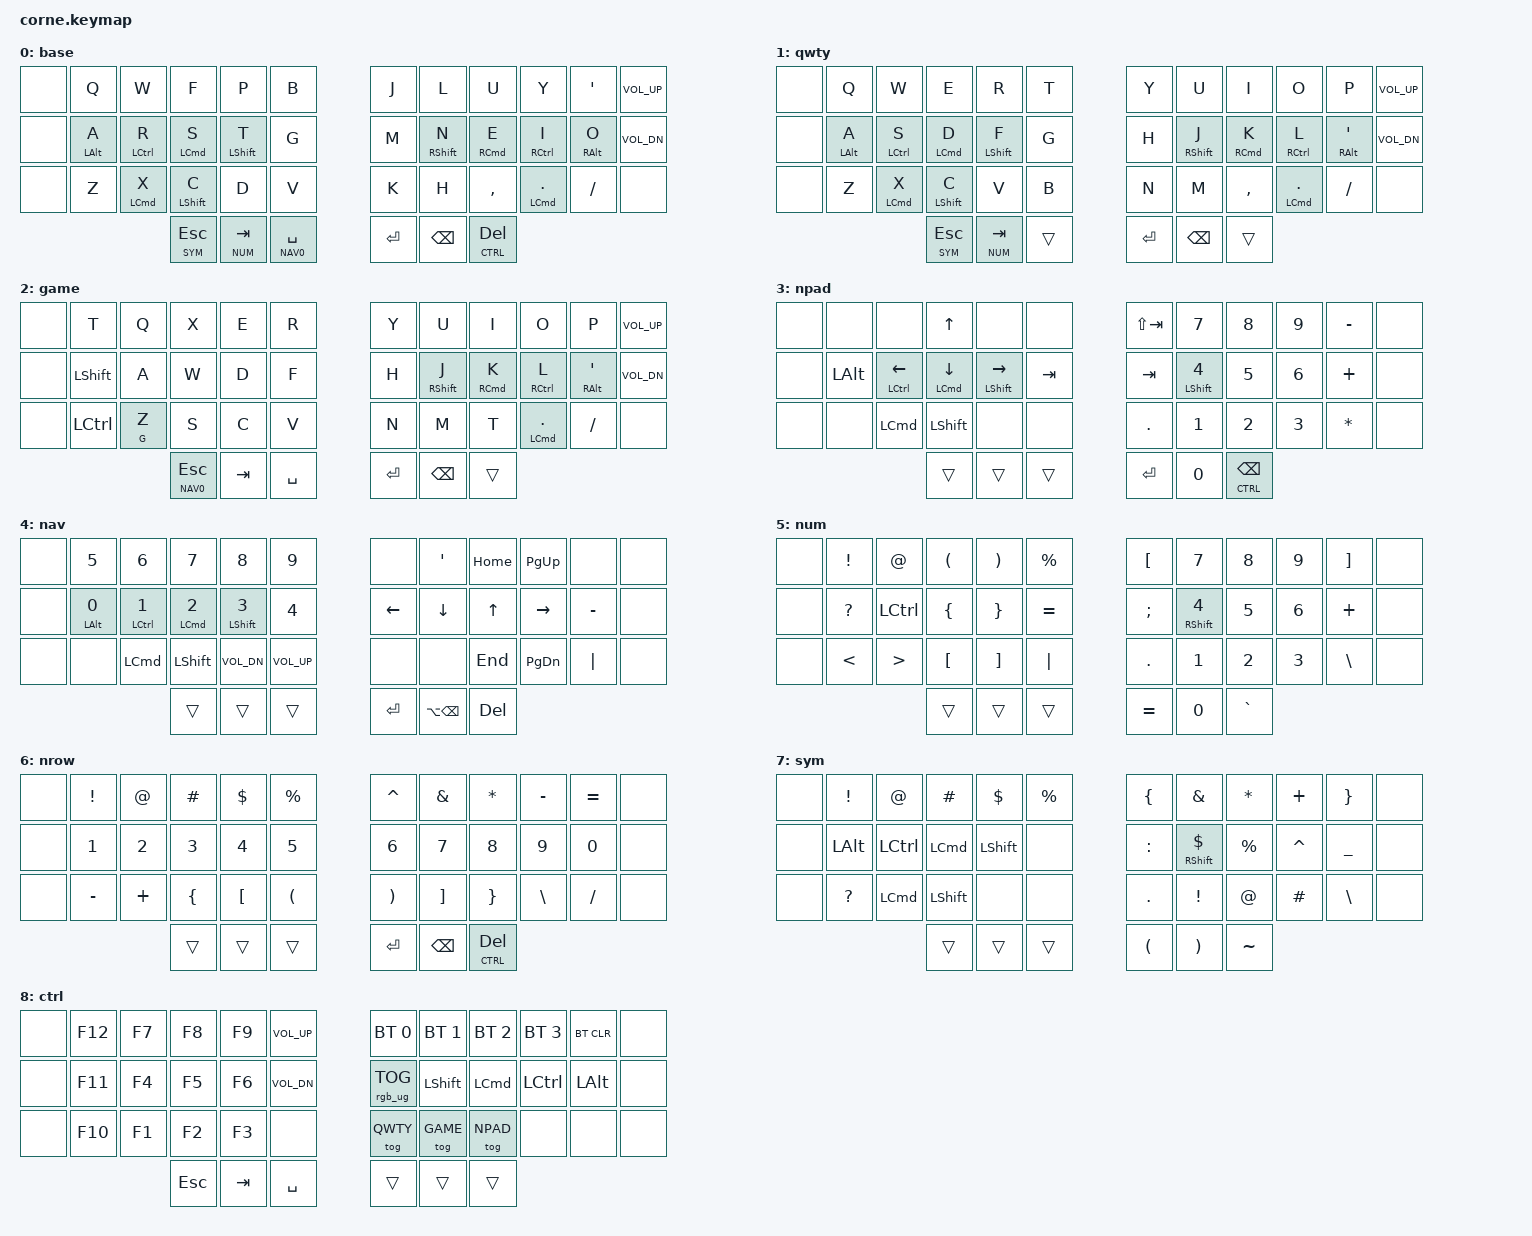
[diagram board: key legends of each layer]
#include <behaviors.dtsi>
#include <dt-bindings/zmk/keys.h>
#include <dt-bindings/zmk/bt.h>
#include <dt-bindings/zmk/rgb.h>

#define DEFAULT 0
#define QWTY 1
#define GAME 2
#define NPAD 3
#define NAV0 4
#define NUM  5
#define NROW 6
#define SYM  7
#define CTRL 8


/ {
    behaviors {
        hm: homerow_mods {
            compatible = "zmk,behavior-hold-tap";
            label = "HOMEROW_MODS";
            #binding-cells = <2>;
            tapping-term-ms = <200>;
            quick_tap_ms = <0>;
            flavor = "tap-preferred";
            bindings = <&kp>, <&kp>;
        };
    };

        keymap {
                compatible = "zmk,keymap";
                default_layer {
                  label = "base";
// -----------------------------------------------------------------------------------------
// |      |  Q   |  W   |  F   |  P   |  B  |   |  J  |  L   |  U   |  Y   |  '   | VOL UP |
// |      |  A/⌥ |  R/^ |  S/⌘ |  T/⇧ |  G  |   |  M  |  N/⇧ |  E/⌘ |  I/^ |  O/⌥ | VOL DN |
// |      |  Z   |  X/⌘ |  C/⇧ |  D   |  V  |   |  K  |  H   |  ,   |  ./⌘ |  /   |        |
//           | SYM ESC | NUM TAB | NAV0/SPC |   | RET | BSPC | CTRL/DEL |
                        bindings = <
   &none   &kp Q       &kp W        &kp F       &kp P        &kp B   &kp J  &kp L        &kp U       &kp Y        &kp SQT       &kp C_VOL_UP
   &none   &hm LALT A  &hm LCTRL R  &hm LCMD S  &hm LSHFT T  &kp G   &kp M  &hm RSHFT N  &hm RCMD E  &hm RCTRL I  &hm RALT O    &kp C_VOL_DN
   &none   &kp Z       &hm LCMD X   &hm LSHFT C &kp D        &kp V   &kp K  &kp H        &kp COMMA   &hm LCMD DOT &kp FSLH      &none
                        &lt SYM ESC  &lt NUM TAB &lt NAV0 SPACE   &kp RET &kp BSPC &lt CTRL DEL
                        >;
                };
                qwerty_layer {
                  label = "qwty";
// -----------------------------------------------------------------------------------------
// |    |  Q   |  W   |  E   |  R   |  T  |   |  Y  |  U   |  I   |  O   |  P   |     |
// |    |  A/⌥ |  S/^ |  D/⌘ |  F/⇧ |  G  |   |  H  |  J/⇧ |  K/⌘ |  L/^ | '/⌥  |     |
// |    |  Z   |  X/⌘ |  C/⇧ |  V   |  B  |   |  N  |  M   |  ,   |  ./⌘ |  /   |     |
//           | SYM ESC | NUM TAB | NAV0/SPC |   | RET | BSPC | CTRL/DEL |
                        bindings = <
   &none  &kp Q       &kp W        &kp E       &kp R        &kp T   &kp Y  &kp U        &kp I      &kp O        &kp P          &kp C_VOL_UP
   &none  &hm LALT A  &hm LCTRL S  &hm LCMD D  &hm LSHFT F  &kp G   &kp H  &hm RSHFT J  &hm RCMD K &hm RCTRL L  &hm RALT SQT   &kp C_VOL_DN
   &none  &kp Z       &hm LCMD X   &hm LSHFT C &kp V        &kp B   &kp N  &kp M        &kp COMMA  &hm LCMD DOT &kp FSLH       &none
                                  &lt SYM ESC  &lt NUM TAB &trans   &kp RET &kp BSPC &trans
                        >;
                };
                gaming_layer {
                  label = "game";
// -----------------------------------------------------------------------------------------
// |    |  T  | Q |  X  | E | R |   |  Y  |  U   |  I   |  O   |  P   |     |
// |    |  ⇧  |  A |  W |  D |  F |   |  H  |  J/⇧ |  K/⌘ |  L/^ | '/⌥  |     |
// |    |  ^  |  G/Z  |  S |  C |  V  |   |  N  |  M   |  T   |  ./⌘ |  /   |     |
//           | NAV0/ESC | TAB | SPC |   | RET | BSPC | CTRL/DEL |
                        bindings = <
   &none  &kp T       &kp Q        &kp X       &kp E        &kp R   &kp Y  &kp U        &kp I      &kp O        &kp P          &kp C_VOL_UP
   &none  &kp LSHFT   &kp A        &kp W       &kp D        &kp F   &kp H  &hm RSHFT J  &hm RCMD K &hm RCTRL L  &hm RALT SQT   &kp C_VOL_DN
   &none  &kp LCTRL   &hm G Z      &kp S       &kp C        &kp V   &kp N  &kp M        &kp T      &hm LCMD DOT &kp FSLH       &none
                                  &lt NAV0 ESC  &kp TAB   &kp SPACE   &kp RET &kp BSPC &trans
                        >;
                };
                npad_layer {
                  label = "npad";
// -----------------------------------------------------------------------------------------
// |       |   |        | UP     |         |     |   | S-TAB   |  7    |  8  |  9  |  -  |      |
// |       | ⌥ | LEFT/^ | DOWN/⌘ | RIGHT/⇧ | TAB |   | TAB     |  4/⇧  |  5  |  6  |  +  |      |
// |       |   |        |        |         |     |   | .       |  1    |  2  |  3  |  *  |      |
//                | SYM ESC | NUM TAB | NAV0/SPC |   | RET |  0  | CTRL/BSPC |
                        bindings = <
   &none   &none    &none          &kp UP        &none           &none     &kp LS(TAB) &kp N7       &kp N8 &kp N9 &kp MINUS   &none
   &none   &kp LALT &hm LCTRL LEFT &hm LCMD DOWN &hm LSHFT RIGHT &kp TAB   &kp TAB     &hm LSHFT N4 &kp N5 &kp N6 &kp PLUS    &none
   &none   &none    &kp LCMD       &kp LSHFT     &none           &none     &kp DOT     &kp N1       &kp N2 &kp N3 &kp ASTRK   &none
                                                    &trans &trans &trans   &kp RET &kp N0 &lt CTRL BSPC
                        >;
                };
                nav0_layer {
                  label = "nav";
// -----------------------------------------------------------------------------------------
// |      | 5    | 6    | 7    |  8     | 9      |   |      |  '   | HOME | PGUP  |     |      |
// |      | 0/⌥  | 1/^  | 2/⌘  |  3/⇧   | 4      |   | LEFT | DOWN | UP   | Right |  -  |      |
// |      |      | ⌘    |   ⇧  | VOL DN | VOL UP |   |      |      | END  | PGDN  | "|" |      |
//             | SYM ESC | NUM TAB | NAV0/SPC |   | RET | BSPC | DEL |
                        bindings = <
   &none  &kp N5       &kp N6        &kp N7       &kp N8        &kp N9          &none     &kp SQT   &kp HOME  &kp PG_UP  &none        &none
   &none  &hm LALT N0  &hm LCTRL N1  &hm LCMD N2  &hm LSHFT N3  &kp N4          &kp LEFT  &kp DOWN  &kp UP    &kp RIGHT  &kp MINUS    &none
   &none  &none        &kp LCMD      &kp LSHFT    &kp C_VOL_DN  &kp C_VOL_UP    &none     &none     &kp END   &kp PG_DN  &kp PIPE     &none
                                                  &trans &trans &trans          &kp RET &kp LA(BSPC) &kp DEL
                        >;
                };
                num_layer {
                  label = "num";
// -----------------------------------------------------------------------------------------
// |      |  !  |  @  |  (  |  )  |  %  |   |  [  |  7   |  8  |  9  |  ]  |    |
// |      |  ?  |  ^  |  {  |  }  |  =  |   |  ;  |  4/⇧ |  5  |  6  |  +  |    |
// |      |  <  |  >  |  [  |  ]  | "|" |   |  .  |  1   |  2  |  3  |  \  |    |
//       | SYM ESC | NUM TAB | NAV0/SPC |   | = |  0  | ` |
                        bindings = <
   &none  &kp EXCL      &kp AT             &kp LPAR  &kp RPAR  &kp PRCNT   &kp LBKT    &kp N7       &kp N8 &kp N9 &kp RBKT    &none
   &none  &kp QMARK     &kp LCTRL          &kp LBRC  &kp RBRC  &kp EQUAL   &kp SEMI    &hm RSHFT N4 &kp N5 &kp N6 &kp PLUS    &none
   &none  &kp LESS_THAN &kp GREATER_THAN   &kp LBKT  &kp RBKT  &kp PIPE    &kp DOT     &kp N1       &kp N2 &kp N3 &kp BSLH   &none
                                       &trans &trans &trans    &kp EQUAL   &kp N0 &kp GRAVE
                        >;
                };
                nrow_layer {
                  label = "nrow";
// -----------------------------------------------------------------------------------------
// |      |  !  |  @  |  #  |  $  |  %  |   |  ^  |  &  |  *  |  -  |  =  |      |
// |      |  1  |  2  |  3  |  4  |  5  |   |  6  |  7  |  8  |  9  |  0  |      |
// |      |  -  |  +  |  {  |  [  |  (  |   |  )  |  ]  |  }  |  \  |  /  |      |
//       | SYM ESC | NUM TAB | NAV0/SPC |   |     | RET | BSPC | CTRL/DEL |
                        bindings = <
   &none &kp EXCL  &kp AT   &kp HASH &kp DLLR  &kp PRCNT   &kp CARET &kp AMPS  &kp ASTRK &kp MINUS &kp EQUAL &none
   &none &kp N1    &kp N2   &kp N3   &kp N4    &kp N5      &kp N6    &kp N7    &kp N8    &kp N9    &kp N0    &none
   &none &kp MINUS &kp PLUS &kp LBRC &kp LBKT  &kp LPAR    &kp RPAR  &kp RBKT  &kp RBRC  &kp BSLH  &kp FSLH  &none
                                   &trans &trans &trans    &kp RET &kp BSPC &lt CTRL DEL
                        >;
                };
                sym_layer {
                  label = "sym";
// -----------------------------------------------------------------------------------------
// |      |  !  |  @  |  #  |  $  |  %  |   | {  |  &  |  *  |  +  |  }  |    |
// |      |  ⌥  |  ^  |  ⌘  |  ⇧  |     |   | :  | $/⇧ |  %  |  ^  |  _  |    |
// |      |  ?  |  ⌘  |  ⇧  |     |     |   | .  |  !  |  @  |  #  |  \  |    |
//       | SYM ESC | NUM TAB | NAV0/SPC |   | (  |  )  | ~ |
                        bindings = <
   &none  &kp EXCL   &kp AT     &kp HASH  &kp DLLR  &kp PRCNT   &kp LBRC    &kp AMPS        &kp ASTRK  &kp PLUS  &kp RBRC   &none
   &none  &kp LALT   &kp LCTRL  &kp LCMD  &kp LSHFT &none       &kp COLON   &hm RSHFT DLLR  &kp PRCNT  &kp CARET &kp UNDER  &none
   &none  &kp QMARK  &kp LCMD   &kp LSHFT &none     &none       &kp DOT     &kp EXCL        &kp AT     &kp HASH  &kp BSLH   &none
                                       &trans &trans &trans    &kp LPAR    &kp RPAR &kp TILDE
                        >;
                }; 
                ctrl_layer {
                  label = "ctrl";
// -----------------------------------------------------------------------------------------
// |    | F12 | F7 | F8 | F9 |    |   | bt 0    | bt 1    | bt 2    | bt 3 | btclr |   |
// |    | F11 | F4 | F5 | F6 |    |   | RGB_TOG |  ⇧      |  ⌘      |  ^   |   ⌥   |   |
// |    | F10 | F1 | F2 | F3 |    |   | TG QWTY | TG GAME | TG NPAD |      |       |   |
//              | ESC | TAB | SPC |   | RET | BSPC | CTRL/DEL |
                        bindings = <
   &none &kp F12 &kp F7 &kp F8 &kp F9 &kp C_VOL_UP     &bt BT_SEL 0    &bt BT_SEL 1 &bt BT_SEL 2 &bt BT_SEL 3 &bt BT_CLR &none
   &none &kp F11 &kp F4 &kp F5 &kp F6 &kp C_VOL_DN     &rgb_ug RGB_TOG &kp LSHFT    &kp LCMD     &kp LCTRL    &kp LALT   &none
   &none &kp F10 &kp F1 &kp F2 &kp F3 &none            &tog QWTY       &tog GAME    &tog NPAD    &none        &none      &none
                         &kp ESC &kp TAB &kp SPACE     &trans &trans &trans
                        >;
                };
        };
};  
